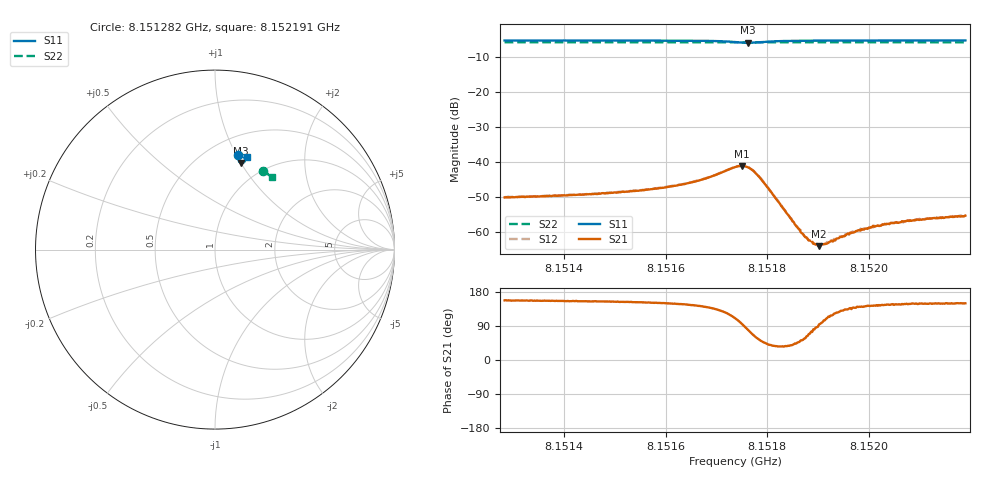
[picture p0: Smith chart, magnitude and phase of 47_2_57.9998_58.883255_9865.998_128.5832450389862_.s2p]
#  HZ  S  RI  R  50.00
! Rohde & Schwarz Vector Network Analyzer
! Rohde-Schwarz,ZNB20-2Port,1311601062101988,3.16
! Created: UTC 3/21/2024, 12:52:20 AM
! freq[Hz]  re:S11  im:S11  re:S21  im:S21  re:S12  im:S12  re:S22  im:S22
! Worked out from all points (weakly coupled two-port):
!   401 points, 8.151282 GHz to 8.152191 GHz, reference 50 ohm
!   highest |S21| = -41.11 dB at 8.15175 GHz (marker M1); lowest = -64.0 dB at 8.151902 GHz (marker M2)
!   lowest |S11| = -6.0 dB at 8.151761 GHz (marker M3), VSWR 3.03, Z = 38.7 + j50.1 ohm
!   |S11| at or under -10 dB: nowhere
!   |S22| runs from -5.8 to -5.8 dB; largest |S21 - S12| = 0.00015
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8.1512824e9  0.1255 0.5289  -0.00288 0.0012  -0.00288 0.00125  0.2692 0.438
8.1514345e9  0.1375 0.5261  -0.00309 0.00143  -0.00311 0.00146  0.2774 0.4325
8.1515866e9  0.1512 0.5212  -0.00369 0.00207  -0.0037 0.00215  0.2856 0.4269
8.1516343e9  0.1567 0.5181  -0.00406 0.00261  -0.00403 0.00269  0.2883 0.425
8.1516684e9  0.1614 0.5142  -0.00438 0.0034  -0.00435 0.00348  0.2899 0.4235
8.1517365e9  0.164 0.4897  -0.00295 0.00792  -0.00288 0.00803  0.2931 0.42
8.1517501e9  0.1552 0.483  -0.000807 0.00876  -0.000698 0.0088  0.2933 0.4197
8.1517614e9  0.1447 0.4829  0.00143 0.00831  0.00152 0.00837  0.2936 0.4194
8.1517728e9  0.1359 0.4884  0.00308 0.0068  0.00316 0.00681  0.294 0.4195
8.1517864e9  0.1319 0.4982  0.00365 0.00458  0.00372 0.00462  0.2946 0.4192
8.1518545e9  0.1456 0.5178  0.000931 0.000884  0.000983 0.000899  0.2988 0.4172
8.1518704e9  0.1486 0.5186  0.000561 0.000751  0.000539 0.000753  0.2997 0.4165
8.1518772e9  0.1497 0.5188  0.000388 0.000737  0.000432 0.000718  0.3 0.4162
8.1518886e9  0.1514 0.519  0.000205 0.000712  0.000207 0.000676  0.3007 0.4158
8.1518977e9  0.1526 0.519  4.09e-05 0.000677  4.91e-05 0.000663  0.3012 0.4154
8.1519022e9  0.1534 0.519  -4.36e-05 0.000626  -4.58e-05 0.000639  0.3014 0.4154
8.1519158e9  0.1551 0.519  -0.000217 0.00064  -0.000205 0.000657  0.3023 0.4148
8.1519612e9  0.1604 0.5185  -0.000659 0.000652  -0.000661 0.00064  0.3046 0.413
8.1519862e9  0.163 0.5183  -0.000854 0.000693  -0.00083 0.000686  0.3057 0.4121
8.1520407e9  0.1679 0.5172  -0.00107 0.000732  -0.00107 0.00074  0.3087 0.4099
8.1520975e9  0.1726 0.5161  -0.00127 0.000807  -0.00126 0.000795  0.3115 0.4076
8.1521906e9  0.1797 0.514  -0.00148 0.000866  -0.00145 0.000907  0.3163 0.4036
